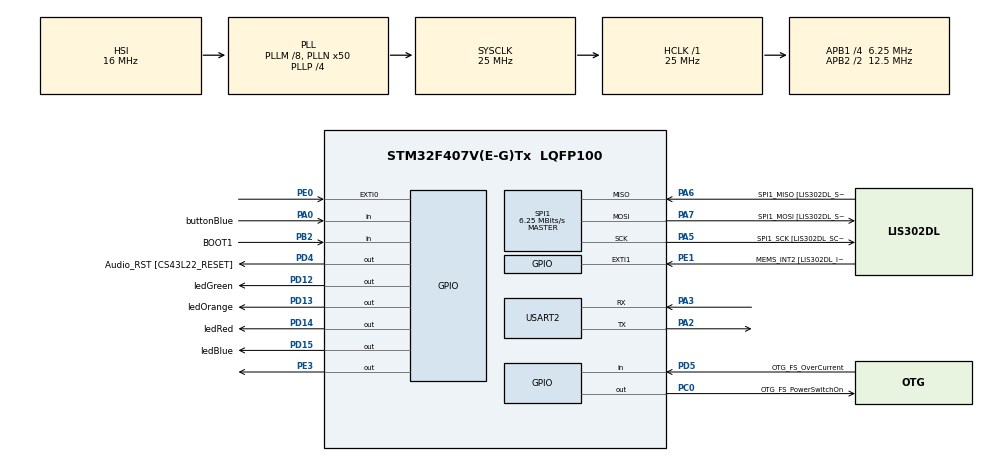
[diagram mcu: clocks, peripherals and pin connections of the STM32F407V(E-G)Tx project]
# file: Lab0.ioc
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Mcu.Family=STM32F4
Mcu.Name=STM32F407V(E-G)Tx
Mcu.Package=LQFP100
NVIC.EXTI0_IRQn=true\:4\:0\:true\:false\:true\:true\:true\:true
NVIC.PriorityGroup=NVIC_PRIORITYGROUP_4
NVIC.TIM7_IRQn=true\:0\:0\:false\:false\:true\:false\:true\:true
NVIC.TimeBase=TIM7_IRQn
NVIC.TimeBaseIP=TIM7
PA0-WKUP.GPIO_Label=buttonBlue
PA0-WKUP.Signal=GPIO_Input
PA10.GPIO_Label=OTG_FS_ID
PA10.GPIO_Mode=GPIO_MODE_AF_PP
PA10.GPIO_PuPd=GPIO_NOPULL
PA10.GPIO_Speed=GPIO_SPEED_FREQ_LOW
PA10.Signal=USB_OTG_FS_ID
PA11.GPIO_Label=OTG_FS_DM
PA11.GPIO_Mode=GPIO_MODE_AF_PP
PA11.GPIO_PuPd=GPIO_NOPULL
PA11.GPIO_Speed=GPIO_SPEED_FREQ_LOW
PA11.Signal=USB_OTG_FS_DM
PA12.GPIO_Label=OTG_FS_DP
PA12.GPIO_Mode=GPIO_MODE_AF_PP
PA12.GPIO_PuPd=GPIO_NOPULL
PA12.GPIO_Speed=GPIO_SPEED_FREQ_LOW
PA12.Signal=USB_OTG_FS_DP
PA13.GPIO_Label=SWDIO
PA13.Mode=Serial_Wire
PA13.Signal=SYS_JTMS-SWDIO
PA14.GPIO_Label=SWCLK
PA14.Mode=Serial_Wire
PA14.Signal=SYS_JTCK-SWCLK
PA2.Mode=Asynchronous
PA2.Signal=USART2_TX
PA3.Mode=Asynchronous
PA3.Signal=USART2_RX
PA4.GPIO_Label=I2S3_WS [CS43L22_LRCK]
PA4.GPIO_Mode=GPIO_MODE_AF_PP
PA4.GPIO_PuPd=GPIO_NOPULL
PA4.GPIO_Speed=GPIO_SPEED_FREQ_LOW
PA4.Signal=I2S3_WS
PA5.GPIO_Label=SPI1_SCK [LIS302DL_SCL/SPC]
PA5.GPIO_Mode=GPIO_MODE_AF_PP
PA5.GPIO_PuPd=GPIO_NOPULL
PA5.GPIO_Speed=GPIO_SPEED_FREQ_LOW
PA5.Mode=Full_Duplex_Master
PA5.Signal=SPI1_SCK
PA6.GPIO_Label=SPI1_MISO [LIS302DL_SDO]
PA6.GPIO_Mode=GPIO_MODE_AF_PP
PA6.GPIO_PuPd=GPIO_NOPULL
PA6.GPIO_Speed=GPIO_SPEED_FREQ_LOW
PA6.Mode=Full_Duplex_Master
PA6.Signal=SPI1_MISO
PA7.GPIO_Label=SPI1_MOSI [LIS302DL_SDA/SDI/SDO]
PA7.GPIO_Mode=GPIO_MODE_AF_PP
PA7.GPIO_PuPd=GPIO_NOPULL
PA7.GPIO_Speed=GPIO_SPEED_FREQ_LOW
PA7.Mode=Full_Duplex_Master
PA7.Signal=SPI1_MOSI
PA9.GPIO_Label=VBUS_FS
PA9.GPIO_Mode=GPIO_MODE_INPUT
PA9.GPIO_PuPd=GPIO_NOPULL
PA9.Signal=USB_OTG_FS_VBUS
PB10.GPIO_Label=CLK_IN [MP45DT02_CLK]
PB10.GPIO_Mode=GPIO_MODE_AF_PP
PB10.GPIO_PuPd=GPIO_NOPULL
PB10.GPIO_Speed=GPIO_SPEED_FREQ_LOW
PB10.Signal=I2S2_CK
PB2.GPIO_Label=BOOT1
PB2.GPIO_Mode=GPIO_MODE_INPUT
PB2.GPIO_PuPd=GPIO_NOPULL
PB2.Signal=GPIO_Input
PB3.GPIO_Label=SWO
PB3.Signal=SYS_JTDO-SWO
PB6.GPIO_Label=Audio_SCL [CS43L22_SCL]
PB6.GPIO_Mode=GPIO_MODE_AF_OD
PB6.GPIO_PuPd=GPIO_NOPULL
PB6.GPIO_Speed=GPIO_SPEED_FREQ_LOW
PB6.Signal=I2C1_SCL
PB9.GPIO_Label=Audio_SDA [CS43L22_SDA]
PB9.GPIO_Mode=GPIO_MODE_AF_OD
PB9.GPIO_PuPd=GPIO_NOPULL
PB9.GPIO_Speed=GPIO_SPEED_FREQ_LOW
PB9.Signal=I2C1_SDA
PC0.GPIO_Label=OTG_FS_PowerSwitchOn
PC0.GPIO_PuPd=GPIO_NOPULL
PC0.GPIO_Speed=GPIO_SPEED_FREQ_LOW
PC0.PinState=GPIO_PIN_SET
PC0.Signal=GPIO_Output
PC10.GPIO_Label=I2S3_SCK [CS43L22_SCLK]
PC10.GPIO_Mode=GPIO_MODE_AF_PP
PC10.GPIO_PuPd=GPIO_NOPULL
PC10.GPIO_Speed=GPIO_SPEED_FREQ_LOW
PC10.Signal=I2S3_CK
PC12.GPIO_Label=I2S3_SD [CS43L22_SDIN]
PC12.GPIO_Mode=GPIO_MODE_AF_PP
PC12.GPIO_PuPd=GPIO_NOPULL
PC12.GPIO_Speed=GPIO_SPEED_FREQ_LOW
PC12.Signal=I2S3_SD
PC14-OSC32_IN.GPIO_Label=PC14-OSC32_IN
PC14-OSC32_IN.Signal=RCC_OSC32_IN
PC15-OSC32_OUT.GPIO_Label=PC15-OSC32_OUT
PC15-OSC32_OUT.Signal=RCC_OSC32_OUT
PC3.GPIO_Label=PDM_OUT [MP45DT02_DOUT]
PC3.GPIO_Mode=GPIO_MODE_AF_PP
PC3.GPIO_PuPd=GPIO_NOPULL
PC3.GPIO_Speed=GPIO_SPEED_FREQ_LOW
PC3.Signal=I2S2_SD
PC7.GPIO_Label=I2S3_MCK [CS43L22_MCLK]
PC7.GPIO_Mode=GPIO_MODE_AF_PP
PC7.GPIO_PuPd=GPIO_NOPULL
PC7.GPIO_Speed=GPIO_SPEED_FREQ_LOW
PC7.Signal=I2S3_MCK
PD12.GPIO_Label=ledGreen
PD12.Signal=GPIO_Output
PD13.GPIO_Label=ledOrange
PD13.GPIO_PuPd=GPIO_NOPULL
PD13.GPIO_Speed=GPIO_SPEED_FREQ_LOW
PD13.Signal=GPIO_Output
PD14.GPIO_Label=ledRed
PD14.GPIO_PuPd=GPIO_NOPULL
PD14.GPIO_Speed=GPIO_SPEED_FREQ_LOW
PD14.Signal=GPIO_Output
PD15.GPIO_Label=ledBlue
PD15.GPIO_PuPd=GPIO_NOPULL
PD15.GPIO_Speed=GPIO_SPEED_FREQ_LOW
PD15.Signal=GPIO_Output
PD4.GPIO_Label=Audio_RST [CS43L22_RESET]
PD4.GPIO_PuPd=GPIO_NOPULL
PD4.GPIO_Speed=GPIO_SPEED_FREQ_LOW
PD4.Signal=GPIO_Output
PD5.GPIO_Label=OTG_FS_OverCurrent
PD5.GPIO_Mode=GPIO_MODE_INPUT
PD5.GPIO_PuPd=GPIO_NOPULL
PD5.Signal=GPIO_Input
PE0.Signal=GPXTI0
PE1.GPIO_Label=MEMS_INT2 [LIS302DL_INT2]
PE1.GPIO_ModeDefaultEXTI=GPIO_MODE_EVT_RISING
PE1.GPIO_PuPd=GPIO_NOPULL
PE1.Signal=GPXTI1
PE3.Signal=GPIO_Output
PH0-OSC_IN.GPIO_Label=PH0-OSC_IN
PH0-OSC_IN.Signal=RCC_OSC_IN
PH1-OSC_OUT.GPIO_Label=PH1-OSC_OUT
PH1-OSC_OUT.Signal=RCC_OSC_OUT
ProjectManager.HeapSize=0x200
ProjectManager.StackSize=0x400
ProjectManager.TargetToolchain=STM32CubeIDE
RCC.48MHZClocksFreq_Value=14285714.285714285
RCC.AHBFreq_Value=25000000
RCC.APB1CLKDivider=RCC_HCLK_DIV4
RCC.APB1Freq_Value=6250000
RCC.APB1TimFreq_Value=12500000
RCC.APB2CLKDivider=RCC_HCLK_DIV2
RCC.APB2Freq_Value=12500000
RCC.APB2TimFreq_Value=25000000
RCC.CortexFreq_Value=25000000
RCC.HCLKFreq_Value=25000000
RCC.HSE_VALUE=8000000
RCC.HSI_VALUE=16000000
RCC.LSE_VALUE=32768
RCC.PLLM=8
RCC.PLLN=50
RCC.PLLP=RCC_PLLP_DIV4
RCC.PLLQ=7
RCC.SYSCLKFreq_VALUE=25000000
RCC.SYSCLKSource=RCC_SYSCLKSOURCE_PLLCLK
RCC.VCOOutputFreq_Value=100000000
SPI1.CalculateBaudRate=6.25 MBits/s
SPI1.Direction=SPI_DIRECTION_2LINES
SPI1.Mode=SPI_MODE_MASTER
SPI1.VirtualType=VM_MASTER
USART2.VirtualMode=VM_ASYNC
VP_SYS_VS_tim7.Mode=TIM7
board=STM32F407G-DISC1

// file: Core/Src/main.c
/* USER CODE BEGIN Header */
/**
  ******************************************************************************
  * @file           : main.c
  * @brief          : Main program body
  ******************************************************************************
  * @attention
  *
  * Copyright (c) 2023 STMicroelectronics.
  * All rights reserved.
  *
  * This software is licensed under terms that can be found in the LICENSE file
  * in the root directory of this software component.
  * If no LICENSE file comes with this software, it is provided AS-IS.
  *
  ******************************************************************************
  */
/* USER CODE END Header */
#include "main.h"

/* USER CODE BEGIN Includes */
#include "stdio.h"
#include "stdlib.h"
#include "FreeRTOS.h"
#include "task.h"
#include "string.h"
#include "semphr.h"
/* USER CODE END Includes */

/* USER CODE BEGIN PM */

//Lab 3 Macro
#define LIS3DSH_WHO_AM_I_ADDR                0x0F
#define LIS3DSH_STAT_ADDR                    0x18
#define LIS3DSH_CTRL_REG4_ADDR               0x20
#define LIS3DSH_CTRL_REG1_ADDR               0x21
#define LIS3DSH_CTRL_REG2_ADDR               0x22
#define LIS3DSH_CTRL_REG3_ADDR               0x23
#define LIS3DSH_CTRL_REG5_ADDR               0x24
#define LIS3DSH_CTRL_REG6_ADDR               0x25

#define LIS3DSH_STATUS_ADDR                  0x27

#define LIS3DSH_OUT_X_L_ADDR                 0x28
#define LIS3DSH_OUT_X_H_ADDR                 0x29
#define LIS3DSH_OUT_Y_L_ADDR                 0x2A
#define LIS3DSH_OUT_Y_H_ADDR                 0x2B
#define LIS3DSH_OUT_Z_L_ADDR                 0x2C
#define LIS3DSH_OUT_Z_H_ADDR                 0x2D

#define LIS3DSH_ST1_1_ADDR                   0x40
#define LIS3DSH_ST1_2_ADDR                   0x41
#define LIS3DSH_THRS1_1_ADDR                 0x57
#define LIS3DSH_MASK1_B_ADDR                 0x59
#define LIS3DSH_MASK1_A_ADDR                 0x5A
#define LIS3DSH_SETT1_ADDR                   0x5B
#define LIS3DSH_OUTS1_ADDR                   0x5F
//Lab 3 Macro

/* USER CODE END PM */

SPI_HandleTypeDef hspi1;

UART_HandleTypeDef huart2;

/* USER CODE BEGIN PV */

//Lab 3
SemaphoreHandle_t xSemaphore;
uint8_t data;
//Lab 3

/* USER CODE END PV */

void SystemClock_Config(void);
static void MX_GPIO_Init(void);
static void MX_USART2_UART_Init(void);
static void MX_SPI1_Init(void);
/* USER CODE BEGIN PFP */

//Lab 2
//void TaskMonitor_APP(void *pvParameters);
//void Red_LED_App(void *pvParameters);
//void Green_LED_App(void *pvParameters);
//void Delay_App(void *pvParameters);
//Lab 2

//Lab 1

//QueueHandle_t msgQueue;
//void LEDTask_App(void *pvParameters)
//{
//	unsigned int msg = 0;
//	for(;;)
//	{
//		while(msg==0){
//			HAL_GPIO_WritePin(ledGreen_GPIO_Port, GPIO_PIN_12, GPIO_PIN_SET);
//			vTaskDelay(1000);
//			HAL_GPIO_WritePin(ledGreen_GPIO_Port, GPIO_PIN_12, GPIO_PIN_RESET);
//			vTaskDelay(1000);
//			HAL_GPIO_WritePin(ledRed_GPIO_Port, GPIO_PIN_14, GPIO_PIN_SET);
//			vTaskDelay(1000);
//			HAL_GPIO_WritePin(ledRed_GPIO_Port, GPIO_PIN_14, GPIO_PIN_RESET);
//			vTaskDelay(1000);
//			xQueueReceive(msgQueue, &msg, 500);
//			if(msg==1)	break;
//		}
//		while(msg==1){
//			HAL_GPIO_WritePin(ledOrange_GPIO_Port, GPIO_PIN_13, GPIO_PIN_SET);
//			vTaskDelay(1000);
//			HAL_GPIO_WritePin(ledOrange_GPIO_Port, GPIO_PIN_13, GPIO_PIN_RESET);
//			vTaskDelay(1000);
//			xQueueReceive(msgQueue, &msg, 500);
//			if(msg==0)	break;
//		}
//	}
//}
//
//void buttonSwitch_App(void* pvParameters){
//	unsigned int count = 0;
//	for(;;){
//		if(HAL_GPIO_ReadPin(buttonBlue_GPIO_Port, GPIO_PIN_0)){
//			HAL_Delay(10);
//			while(HAL_GPIO_ReadPin(buttonBlue_GPIO_Port, GPIO_PIN_0)){
//				;
//			}
//			++count;
//			count %= 2;
//			xQueueSend(msgQueue, (int*)&count,1);
//			taskYIELD();
//		}
//	}
//
//}

//Lab 2

//void USART_Test(void *pvParameters){
//	uint32_t Monitortimer = 400;
//	char MonitorTset[30];
//	char num[15];
//	int i = 0;
//	while(1){
//		memset(MonitorTset,'\0',sizeof(MonitorTset));
//		memset(num,'\0',sizeof(num));
//		itoa(i,num,10);
//		strcat(num," ");
//		sprintf(MonitorTset,"The point is %s\n\r",num);
//		HAL_UART_Transmit(&huart2,(uint8_t *)MonitorTset,strlen(MonitorTset),0xffff);
//		vTaskDelay(Monitortimer);
//		Monitortimer += 1;
//		i += 1;
//	}
//}

//Lab 3
void MEMS_Write(uint8_t address,uint8_t data){
	HAL_GPIO_WritePin(GPIOE, GPIO_PIN_3, GPIO_PIN_RESET);
	HAL_SPI_Transmit(&hspi1,&address,1,10);
	HAL_SPI_Transmit(&hspi1,&data,1,10);
	HAL_GPIO_WritePin(GPIOE, GPIO_PIN_3,GPIO_PIN_SET);
}

void MEMS_Read(uint8_t address,uint8_t *data){
    address |= 0x80;
	HAL_GPIO_WritePin(GPIOE,GPIO_PIN_3,GPIO_PIN_RESET);
	HAL_SPI_Transmit(&hspi1,&address,1,10);
	HAL_SPI_Receive(&hspi1,data,1,10);
	HAL_GPIO_WritePin(GPIOE,GPIO_PIN_3,GPIO_PIN_SET);
}

void sensor_init()
{
    MEMS_Write(0x21,0x01);
    MEMS_Write(0x23,0x48);
    MEMS_Write(0x20,0x67);
    MEMS_Write(0x24,0x00);
    MEMS_Write(0x57,0x55);
    MEMS_Write(0x40,0x05);
    MEMS_Write(0x41,0x11);
    MEMS_Write(0x59,0xFC);
    MEMS_Write(0x5A,0xFC);
    MEMS_Write(0x5B,0x01);
}

void LED_Task(void *pvParameter)
{
	for(;;){
		HAL_GPIO_TogglePin(ledGreen_GPIO_Port, GPIO_PIN_12);
		vTaskDelay(500/portTICK_RATE_MS);
	}

}

void vHandlerTask( void *pvParameters )
{

	for(;;)
		{
			/* Take the semaphore */
			// semaphore was obtained
			if(xSemaphoreTake(xSemaphore, 0xFFFF)){
				uint32_t From_Begin_time;
				// Orange Toggle
				for(int i = 0; i < 5*2; i++){
					From_Begin_time = HAL_GetTick();
					HAL_GPIO_TogglePin(ledOrange_GPIO_Port, GPIO_PIN_13);
					while(HAL_GetTick()-From_Begin_time < 250/portTICK_RATE_MS){
						;
					}
				}
				sensor_init();
			}
			// reset interrupt register
		}
}

void HAL_GPIO_EXTI_Callback(uint16_t GPIO_Pin)
{
	//Red Toggle
	HAL_GPIO_TogglePin(ledRed_GPIO_Port, GPIO_PIN_14);

	/* Give the semaphore to unblock the handler task */
	BaseType_t xHigherPriorityTaskWoken;
	xHigherPriorityTaskWoken = pdFALSE;

	xSemaphoreGiveFromISR(xSemaphore, &xHigherPriorityTaskWoken);
	portYIELD_FROM_ISR(xHigherPriorityTaskWoken);
}

//Lab 3

/* USER CODE END PFP */

int main(void)
{

  /* MCU Configuration--------------------------------------------------------*/

  /* Reset of all peripherals, Initializes the Flash interface and the Systick. */
  HAL_Init();

  /* Configure the system clock */
  SystemClock_Config();

  /* Initialize all configured peripherals */
  MX_GPIO_Init();
  MX_USART2_UART_Init();
  MX_SPI1_Init();
  /* USER CODE BEGIN 2 */

  //Lab 1
//  msgQueue  = xQueueCreate(1, sizeof(unsigned long));
//  xTaskCreate(LEDTask_App,"LEDTask_App",1000,NULL,1,NULL);
//  xTaskCreate(buttonSwitch_App,"buttonSwitch_App",1000,NULL,1,NULL);

  //Lab 2
//  xTaskCreate(Red_LED_App,"RedLED",1000,NULL,1,NULL);
//  xTaskCreate(Green_LED_App,"GreLED",1000,NULL,1,NULL);
//  xTaskCreate(Delay_App,"Delay",1000,NULL,14,NULL);
//  xTaskCreate(TaskMonitor_APP,"Monit",1000,NULL,3,NULL);
//  vTaskStartScheduler();

  //Lab 3
  xSemaphore = xSemaphoreCreateBinary();
  sensor_init();
  xTaskCreate(LED_Task,"LED_Task",128,NULL,1,NULL);
  xTaskCreate(vHandlerTask,"HandlerTask", 1000, NULL, 4, NULL);
  vTaskStartScheduler();
  //Lab 3
  /* USER CODE END 2 */

  /* Infinite loop */
  while (1)
  {

  }
}

void SystemClock_Config(void)
{
  RCC_OscInitTypeDef RCC_OscInitStruct = {0};
  RCC_ClkInitTypeDef RCC_ClkInitStruct = {0};

  /** Configure the main internal regulator output voltage
  */
  __HAL_RCC_PWR_CLK_ENABLE();
  __HAL_PWR_VOLTAGESCALING_CONFIG(PWR_REGULATOR_VOLTAGE_SCALE1);

  /** Initializes the RCC Oscillators according to the specified parameters
  * in the RCC_OscInitTypeDef structure.
  */
  RCC_OscInitStruct.OscillatorType = RCC_OSCILLATORTYPE_HSI;
  RCC_OscInitStruct.HSIState = RCC_HSI_ON;
  RCC_OscInitStruct.HSICalibrationValue = RCC_HSICALIBRATION_DEFAULT;
  RCC_OscInitStruct.PLL.PLLState = RCC_PLL_ON;
  RCC_OscInitStruct.PLL.PLLSource = RCC_PLLSOURCE_HSI;
  RCC_OscInitStruct.PLL.PLLM = 8;
  RCC_OscInitStruct.PLL.PLLN = 50;
  RCC_OscInitStruct.PLL.PLLP = RCC_PLLP_DIV4;
  RCC_OscInitStruct.PLL.PLLQ = 7;
  if (HAL_RCC_OscConfig(&RCC_OscInitStruct) != HAL_OK)
  {
    Error_Handler();
  }

  /** Initializes the CPU, AHB and APB buses clocks
  */
  RCC_ClkInitStruct.ClockType = RCC_CLOCKTYPE_HCLK|RCC_CLOCKTYPE_SYSCLK
                              |RCC_CLOCKTYPE_PCLK1|RCC_CLOCKTYPE_PCLK2;
  RCC_ClkInitStruct.SYSCLKSource = RCC_SYSCLKSOURCE_PLLCLK;
  RCC_ClkInitStruct.AHBCLKDivider = RCC_SYSCLK_DIV1;
  RCC_ClkInitStruct.APB1CLKDivider = RCC_HCLK_DIV4;
  RCC_ClkInitStruct.APB2CLKDivider = RCC_HCLK_DIV2;

  if (HAL_RCC_ClockConfig(&RCC_ClkInitStruct, FLASH_LATENCY_0) != HAL_OK)
  {
    Error_Handler();
  }
}

static void MX_SPI1_Init(void)
{

  /* SPI1 parameter configuration*/
  hspi1.Instance = SPI1;
  hspi1.Init.Mode = SPI_MODE_MASTER;
  hspi1.Init.Direction = SPI_DIRECTION_2LINES;
  hspi1.Init.DataSize = SPI_DATASIZE_8BIT;
  hspi1.Init.CLKPolarity = SPI_POLARITY_LOW;
  hspi1.Init.CLKPhase = SPI_PHASE_1EDGE;
  hspi1.Init.NSS = SPI_NSS_SOFT;
  hspi1.Init.BaudRatePrescaler = SPI_BAUDRATEPRESCALER_2;
  hspi1.Init.FirstBit = SPI_FIRSTBIT_MSB;
  hspi1.Init.TIMode = SPI_TIMODE_DISABLE;
  hspi1.Init.CRCCalculation = SPI_CRCCALCULATION_DISABLE;
  hspi1.Init.CRCPolynomial = 10;
  if (HAL_SPI_Init(&hspi1) != HAL_OK)
  {
    Error_Handler();
  }

}

static void MX_USART2_UART_Init(void)
{

  huart2.Instance = USART2;
  huart2.Init.BaudRate = 115200;
  huart2.Init.WordLength = UART_WORDLENGTH_8B;
  huart2.Init.StopBits = UART_STOPBITS_1;
  huart2.Init.Parity = UART_PARITY_NONE;
  huart2.Init.Mode = UART_MODE_TX_RX;
  huart2.Init.HwFlowCtl = UART_HWCONTROL_NONE;
  huart2.Init.OverSampling = UART_OVERSAMPLING_16;
  if (HAL_UART_Init(&huart2) != HAL_OK)
  {
    Error_Handler();
  }

}

static void MX_GPIO_Init(void)
{
  GPIO_InitTypeDef GPIO_InitStruct = {0};

  /* GPIO Ports Clock Enable */
  __HAL_RCC_GPIOE_CLK_ENABLE();
  __HAL_RCC_GPIOC_CLK_ENABLE();
  __HAL_RCC_GPIOH_CLK_ENABLE();
  __HAL_RCC_GPIOA_CLK_ENABLE();
  __HAL_RCC_GPIOB_CLK_ENABLE();
  __HAL_RCC_GPIOD_CLK_ENABLE();

  /*Configure GPIO pin Output Level */
  HAL_GPIO_WritePin(GPIOE, GPIO_PIN_3, GPIO_PIN_RESET);

  /*Configure GPIO pin Output Level */
  HAL_GPIO_WritePin(OTG_FS_PowerSwitchOn_GPIO_Port, OTG_FS_PowerSwitchOn_Pin, GPIO_PIN_SET);

  /*Configure GPIO pin Output Level */
  HAL_GPIO_WritePin(GPIOD, ledGreen_Pin|ledOrange_Pin|ledRed_Pin|ledBlue_Pin
                          |Audio_RST_Pin, GPIO_PIN_RESET);

  /*Configure GPIO pin : PE3 */
  GPIO_InitStruct.Pin = GPIO_PIN_3;
  GPIO_InitStruct.Mode = GPIO_MODE_OUTPUT_PP;
  GPIO_InitStruct.Pull = GPIO_NOPULL;
  GPIO_InitStruct.Speed = GPIO_SPEED_FREQ_LOW;
  HAL_GPIO_Init(GPIOE, &GPIO_InitStruct);

  /*Configure GPIO pin : OTG_FS_PowerSwitchOn_Pin */
  GPIO_InitStruct.Pin = OTG_FS_PowerSwitchOn_Pin;
  GPIO_InitStruct.Mode = GPIO_MODE_OUTPUT_PP;
  GPIO_InitStruct.Pull = GPIO_NOPULL;
  GPIO_InitStruct.Speed = GPIO_SPEED_FREQ_LOW;
  HAL_GPIO_Init(OTG_FS_PowerSwitchOn_GPIO_Port, &GPIO_InitStruct);

  /*Configure GPIO pin : PDM_OUT_Pin */
  GPIO_InitStruct.Pin = PDM_OUT_Pin;
  GPIO_InitStruct.Mode = GPIO_MODE_AF_PP;
  GPIO_InitStruct.Pull = GPIO_NOPULL;
  GPIO_InitStruct.Speed = GPIO_SPEED_FREQ_LOW;
  GPIO_InitStruct.Alternate = GPIO_AF5_SPI2;
  HAL_GPIO_Init(PDM_OUT_GPIO_Port, &GPIO_InitStruct);

  /*Configure GPIO pin : buttonBlue_Pin */
  GPIO_InitStruct.Pin = buttonBlue_Pin;
  GPIO_InitStruct.Mode = GPIO_MODE_INPUT;
  GPIO_InitStruct.Pull = GPIO_NOPULL;
  HAL_GPIO_Init(buttonBlue_GPIO_Port, &GPIO_InitStruct);

  /*Configure GPIO pin : I2S3_WS_Pin */
  GPIO_InitStruct.Pin = I2S3_WS_Pin;
  GPIO_InitStruct.Mode = GPIO_MODE_AF_PP;
  GPIO_InitStruct.Pull = GPIO_NOPULL;
  GPIO_InitStruct.Speed = GPIO_SPEED_FREQ_LOW;
  GPIO_InitStruct.Alternate = GPIO_AF6_SPI3;
  HAL_GPIO_Init(I2S3_WS_GPIO_Port, &GPIO_InitStruct);

  /*Configure GPIO pin : BOOT1_Pin */
  GPIO_InitStruct.Pin = BOOT1_Pin;
  GPIO_InitStruct.Mode = GPIO_MODE_INPUT;
  GPIO_InitStruct.Pull = GPIO_NOPULL;
  HAL_GPIO_Init(BOOT1_GPIO_Port, &GPIO_InitStruct);

  /*Configure GPIO pin : CLK_IN_Pin */
  GPIO_InitStruct.Pin = CLK_IN_Pin;
  GPIO_InitStruct.Mode = GPIO_MODE_AF_PP;
  GPIO_InitStruct.Pull = GPIO_NOPULL;
  GPIO_InitStruct.Speed = GPIO_SPEED_FREQ_LOW;
  GPIO_InitStruct.Alternate = GPIO_AF5_SPI2;
  HAL_GPIO_Init(CLK_IN_GPIO_Port, &GPIO_InitStruct);

  /*Configure GPIO pins : ledGreen_Pin ledOrange_Pin ledRed_Pin ledBlue_Pin
                           Audio_RST_Pin */
  GPIO_InitStruct.Pin = ledGreen_Pin|ledOrange_Pin|ledRed_Pin|ledBlue_Pin
                          |Audio_RST_Pin;
  GPIO_InitStruct.Mode = GPIO_MODE_OUTPUT_PP;
  GPIO_InitStruct.Pull = GPIO_NOPULL;
  GPIO_InitStruct.Speed = GPIO_SPEED_FREQ_LOW;
  HAL_GPIO_Init(GPIOD, &GPIO_InitStruct);

  /*Configure GPIO pins : I2S3_MCK_Pin I2S3_SCK_Pin I2S3_SD_Pin */
  GPIO_InitStruct.Pin = I2S3_MCK_Pin|I2S3_SCK_Pin|I2S3_SD_Pin;
  GPIO_InitStruct.Mode = GPIO_MODE_AF_PP;
  GPIO_InitStruct.Pull = GPIO_NOPULL;
  GPIO_InitStruct.Speed = GPIO_SPEED_FREQ_LOW;
  GPIO_InitStruct.Alternate = GPIO_AF6_SPI3;
  HAL_GPIO_Init(GPIOC, &GPIO_InitStruct);

  /*Configure GPIO pin : VBUS_FS_Pin */
  GPIO_InitStruct.Pin = VBUS_FS_Pin;
  GPIO_InitStruct.Mode = GPIO_MODE_INPUT;
  GPIO_InitStruct.Pull = GPIO_NOPULL;
  HAL_GPIO_Init(VBUS_FS_GPIO_Port, &GPIO_InitStruct);

  /*Configure GPIO pins : OTG_FS_ID_Pin OTG_FS_DM_Pin OTG_FS_DP_Pin */
  GPIO_InitStruct.Pin = OTG_FS_ID_Pin|OTG_FS_DM_Pin|OTG_FS_DP_Pin;
  GPIO_InitStruct.Mode = GPIO_MODE_AF_PP;
  GPIO_InitStruct.Pull = GPIO_NOPULL;
  GPIO_InitStruct.Speed = GPIO_SPEED_FREQ_LOW;
  GPIO_InitStruct.Alternate = GPIO_AF10_OTG_FS;
  HAL_GPIO_Init(GPIOA, &GPIO_InitStruct);

  /*Configure GPIO pin : OTG_FS_OverCurrent_Pin */
  GPIO_InitStruct.Pin = OTG_FS_OverCurrent_Pin;
  GPIO_InitStruct.Mode = GPIO_MODE_INPUT;
  GPIO_InitStruct.Pull = GPIO_NOPULL;
  HAL_GPIO_Init(OTG_FS_OverCurrent_GPIO_Port, &GPIO_InitStruct);

  /*Configure GPIO pins : Audio_SCL_Pin Audio_SDA_Pin */
  GPIO_InitStruct.Pin = Audio_SCL_Pin|Audio_SDA_Pin;
  GPIO_InitStruct.Mode = GPIO_MODE_AF_OD;
  GPIO_InitStruct.Pull = GPIO_NOPULL;
  GPIO_InitStruct.Speed = GPIO_SPEED_FREQ_LOW;
  GPIO_InitStruct.Alternate = GPIO_AF4_I2C1;
  HAL_GPIO_Init(GPIOB, &GPIO_InitStruct);

  /*Configure GPIO pin : PE0 */
  GPIO_InitStruct.Pin = GPIO_PIN_0;
  GPIO_InitStruct.Mode = GPIO_MODE_IT_RISING;
  GPIO_InitStruct.Pull = GPIO_NOPULL;
  HAL_GPIO_Init(GPIOE, &GPIO_InitStruct);

  /*Configure GPIO pin : MEMS_INT2_Pin */
  GPIO_InitStruct.Pin = MEMS_INT2_Pin;
  GPIO_InitStruct.Mode = GPIO_MODE_EVT_RISING;
  GPIO_InitStruct.Pull = GPIO_NOPULL;
  HAL_GPIO_Init(MEMS_INT2_GPIO_Port, &GPIO_InitStruct);

  /* EXTI interrupt init*/
  HAL_NVIC_SetPriority(EXTI0_IRQn, 4, 0);
  HAL_NVIC_EnableIRQ(EXTI0_IRQn);

}

/* USER CODE BEGIN 4 */

//Lab 2
//void TaskMonitor_APP(void *pvParameters){
//	for(;;){
//		TaskMonitor();
//		vTaskDelay(1000);
//	}
//}
//
//void Red_LED_App(void *pvParameters){
//	uint32_t Redtimer = 800;
//	for(;;){
//		HAL_GPIO_TogglePin(ledRed_GPIO_Port, GPIO_PIN_14);
//		vTaskDelay(Redtimer);
//		Redtimer+=2;
//	}
//}
//
//void Green_LED_App(void *pvParameters){
//	uint32_t Greentimer = 800;
//	for(;;){
//		HAL_GPIO_TogglePin(ledGreen_GPIO_Port, GPIO_PIN_12);
//		vTaskDelay(Greentimer);
//		Greentimer+=2;
//	}
//}
//void Delay_App(void *pvParameters){
//	int delayflag = 0;
//	uint32_t delaytime;
//	while(1){
//		if(delayflag==0){
//			delaytime = 1000;
//			delayflag = 1;
//		}
//		else{
//			delaytime = 0xFFFFFFFF;
//		}
//		vTaskDelay(delaytime);
//	}
//}
//Lab 2

/* USER CODE END 4 */

void HAL_TIM_PeriodElapsedCallback(TIM_HandleTypeDef *htim)
{
  if (htim->Instance == TIM7) {
    HAL_IncTick();
  }
}

void Error_Handler(void)
{
  __disable_irq();
  while (1)
  {
  }
}
